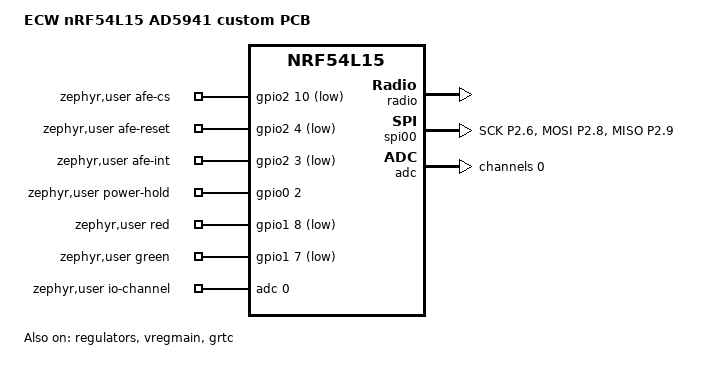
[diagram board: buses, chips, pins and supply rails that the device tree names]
/dts-v1/;
#include <nordic/nrf54l15_cpuapp.dtsi>
#include <zephyr/dt-bindings/gpio/gpio.h>
#include <zephyr/dt-bindings/pinctrl/nrf-pinctrl.h>
#include <zephyr/dt-bindings/adc/adc.h>
#include <zephyr/dt-bindings/adc/nrf-saadc.h>
#include <zephyr/dt-bindings/regulator/nrf5x.h>
/ {
    model = "ECW nRF54L15 AD5941 custom PCB";
    compatible = "ecw,ecw54";
    chosen {
        zephyr,sram = &cpuapp_sram;
        zephyr,flash = &cpuapp_rram;
        zephyr,flash-controller = &rram_controller;
        zephyr,code-partition = &app_partition;
    };
    zephyr,user {
        afe-cs-gpios = <&gpio2 10 GPIO_ACTIVE_LOW>;
        afe-reset-gpios = <&gpio2 4 GPIO_ACTIVE_LOW>;
        afe-int-gpios = <&gpio2 3 GPIO_ACTIVE_LOW>;
        power-hold-gpios = <&gpio0 2 GPIO_ACTIVE_HIGH>;
        red-gpios = <&gpio1 8 GPIO_ACTIVE_LOW>;
        green-gpios = <&gpio1 7 GPIO_ACTIVE_LOW>;
        io-channels = <&adc 0>;
    };
};
&cpuapp_rram {
    partitions {
        compatible = "fixed-partitions";
        #address-cells = <1>;
        #size-cells = <1>;
        app_partition: partition@0 {
            label = "application";
            reg = <0x0 DT_SIZE_K(1524)>;
        };
    };
};
&cpuapp_sram { status = "okay"; };
&gpio0 { status = "okay"; };
&gpio1 { status = "okay"; };
&gpio2 { status = "okay"; };
&gpiote20 { status = "okay"; };
&gpiote30 { status = "okay"; };
&clock { status = "okay"; };
&radio { status = "okay"; };
&regulators { status = "okay"; };
&vregmain {
    status = "okay";
    regulator-initial-mode = <NRF5X_REG_MODE_DCDC>;
};
/* The schematic already fits external load capacitors on both crystals. */
&hfxo { load-capacitors = "external"; };
&lfxo { load-capacitors = "external"; };
&grtc {
    status = "okay";
    owned-channels = <0 1 2 3 4 5 6 7 8 9 10 11>;
    child-owned-channels = <3 4 7 8 9 10 11>;
};
&pinctrl {
    afe_spi_default: afe_spi_default {
        group1 {
            psels = <NRF_PSEL(SPIM_SCK, 2, 6)>,
                    <NRF_PSEL(SPIM_MOSI, 2, 8)>,
                    <NRF_PSEL(SPIM_MISO, 2, 9)>;
        };
    };
    afe_spi_sleep: afe_spi_sleep {
        group1 {
            psels = <NRF_PSEL(SPIM_SCK, 2, 6)>,
                    <NRF_PSEL(SPIM_MOSI, 2, 8)>,
                    <NRF_PSEL(SPIM_MISO, 2, 9)>;
            low-power-enable;
        };
    };
};
&spi00 {
    status = "okay";
    pinctrl-0 = <&afe_spi_default>;
    pinctrl-1 = <&afe_spi_sleep>;
    pinctrl-names = "default", "sleep";
    /* Manual CS is held across the ADI library's split byte transfers. */
};
&adc {
    status = "okay";
    #address-cells = <1>;
    #size-cells = <0>;
    channel@0 {
        reg = <0>;
        zephyr,gain = "ADC_GAIN_1_4";
        zephyr,reference = "ADC_REF_INTERNAL";
        zephyr,acquisition-time = <ADC_ACQ_TIME_DEFAULT>;
        zephyr,input-positive = <NRF_SAADC_AIN7>;
        zephyr,resolution = <12>;
        zephyr,oversampling = <4>;
    };
};
